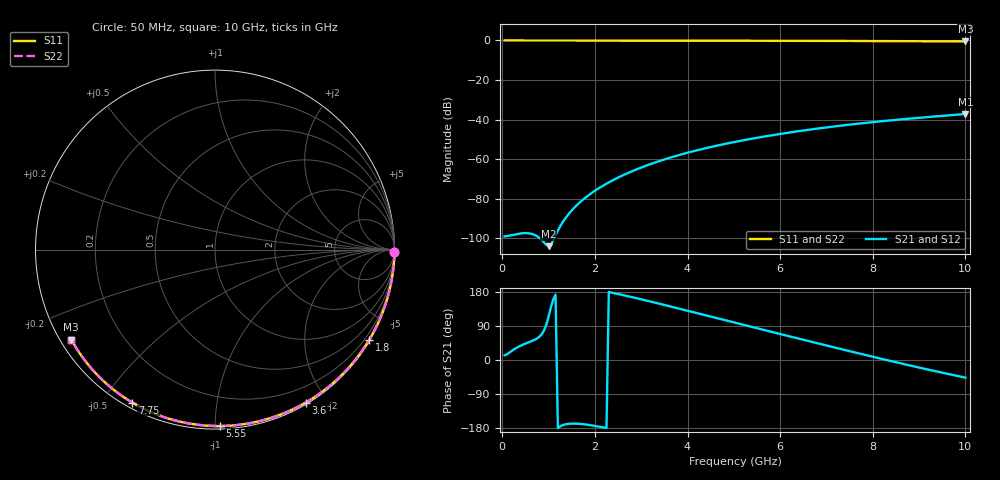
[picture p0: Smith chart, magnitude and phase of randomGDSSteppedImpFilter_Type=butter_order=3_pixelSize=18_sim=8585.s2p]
! freq	dB(S11)	phase(S11)	dB(S12)	phase(S12)
!  dB(S21)	phase(S21)	dB(S22)	phase(S22)
!S-par simulation data
#  GHz  S  DB  R 50
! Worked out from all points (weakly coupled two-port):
!   200 points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, 50 MHz to 10 GHz, reference 50 ohm
!   highest |S21| = -37.19 dB at 10 GHz (marker M1); lowest = -104.1 dB at 1 GHz (marker M2)
!   lowest |S11| = -0.5 dB at 10 GHz (marker M3), VSWR 35.23, Z = 1.54 - j14.3 ohm
!   |S11| at or under -10 dB: nowhere
!   |S22| runs from -0.5 to 0.0 dB; largest |S21 - S12| = 0
!   S11 on the Smith chart (normalised r, x): 50 MHz: open; 1.8 GHz: 0.03, -3.68; 3.6 GHz: 0.02, -1.76; 5.55 GHz: 0.02, -1.03; 7.75 GHz: 0.02, -0.60; 10 GHz: 0.03, -0.29
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0.05  -0.00 -0.9  -99.14 12.4  -99.14 12.4  -0.00 -0.9
0.5  -0.01 -8.6  -97.47 43.2  -97.47 43.2  -0.01 -8.6
1  -0.02 -17.1  -104.07 114.8  -104.07 114.8  -0.02 -17.1
1.75  -0.04 -29.6  -80.38 -169.6  -80.38 -169.6  -0.04 -29.6
1.8  -0.04 -30.4  -79.43 -170.3  -79.43 -170.3  -0.04 -30.4
1.95  -0.04 -32.9  -76.84 -172.9  -76.84 -172.9  -0.04 -32.9
2.1  -0.05 -35.4  -74.54 -176.0  -74.54 -176.0  -0.05 -35.4
2.3  -0.05 -38.6  -71.81 179.3  -71.81 179.3  -0.05 -38.6
2.5  -0.05 -41.9  -69.38 174.2  -69.38 174.2  -0.05 -41.9
2.9  -0.06 -48.3  -65.21 163.1  -65.21 163.1  -0.06 -48.3
3.4  -0.07 -56.2  -60.95 148.3  -60.95 148.3  -0.07 -56.2
3.6  -0.08 -59.3  -59.46 142.3  -59.46 142.3  -0.08 -59.3
4.3  -0.10 -70.0  -55.02 120.7  -55.02 120.7  -0.10 -70.0
5.05  -0.12 -81.1  -51.20 97.6  -51.20 97.6  -0.12 -81.1
5.55  -0.14 -88.3  -49.04 82.3  -49.04 82.3  -0.14 -88.3
6.1  -0.17 -96.0  -46.94 65.5  -46.94 65.5  -0.17 -96.0
6.7  -0.20 -104.3  -44.91 47.3  -44.91 47.3  -0.20 -104.3
7.2  -0.23 -111.1  -43.41 32.3  -43.41 32.3  -0.23 -111.1
7.75  -0.27 -118.4  -41.93 15.9  -41.93 15.9  -0.27 -118.4
8.35  -0.32 -126.3  -40.50 -1.7  -40.50 -1.7  -0.32 -126.3
9.2  -0.41 -137.5  -38.73 -25.5  -38.73 -25.5  -0.41 -137.5
10  -0.49 -148.0  -37.19 -46.4  -37.19 -46.4  -0.49 -148.0
